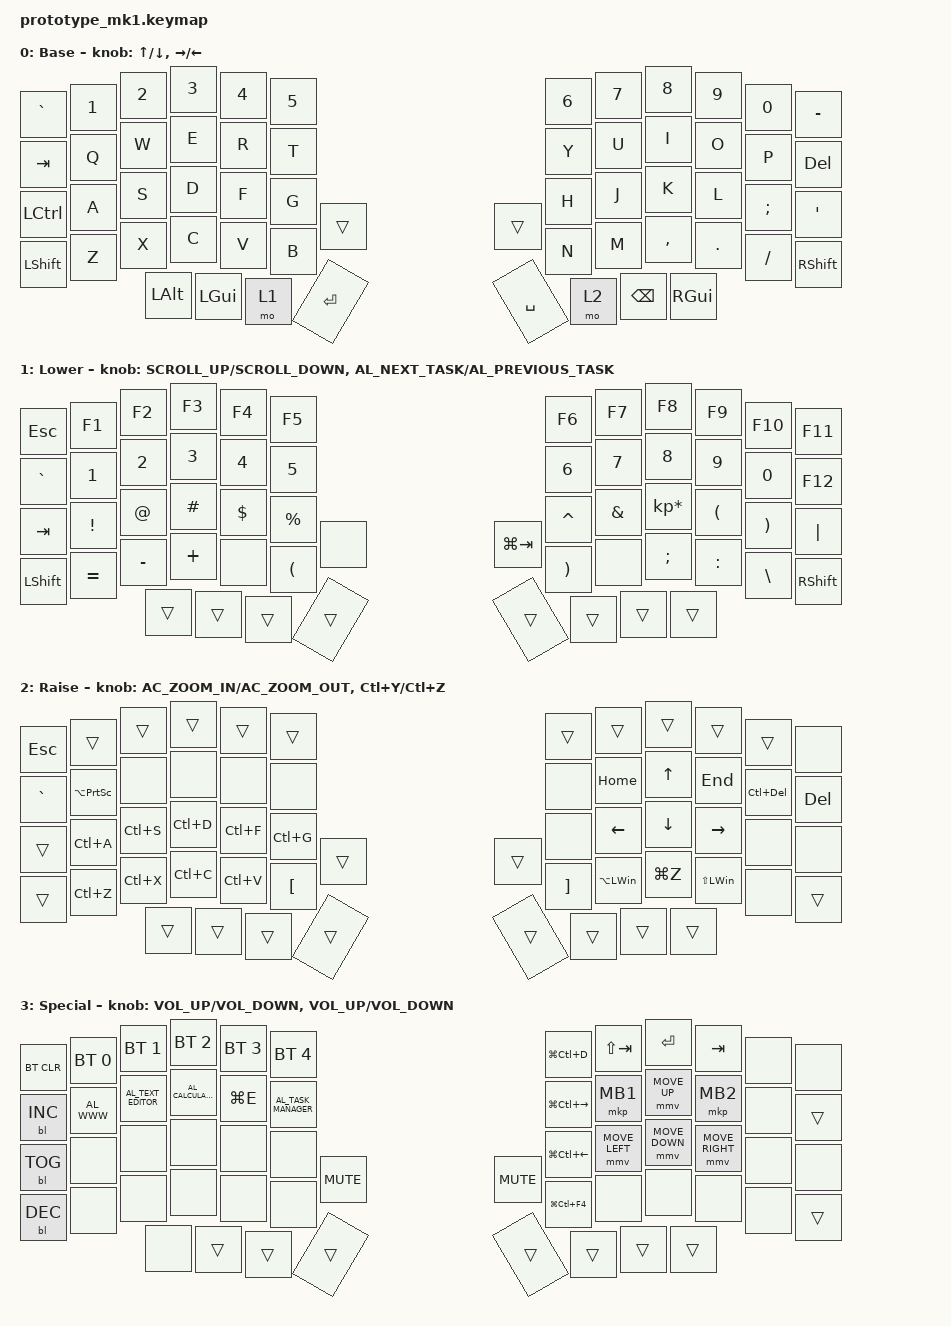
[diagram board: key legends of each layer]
/*
 * Copyright (c) 2020 The ZMK Contributors
 *
 * SPDX-License-Identifier: MIT
 */

#include <behaviors.dtsi>
#include <dt-bindings/zmk/backlight.h>
#include <dt-bindings/zmk/bt.h>
#include <dt-bindings/zmk/ext_power.h>
#include <dt-bindings/zmk/keys.h>
#include <dt-bindings/zmk/pointing.h>

#define BASE 0
#define LOWER 1
#define RAISE 2
#define ADJUST 3

/ {
    // Activate ADJUST layer by pressing raise and lower

    conditional_layers {
        compatible = "zmk,conditional-layers";

        special_layer {
            if-layers = <1 2>;
            then-layer = <3>;
        };
    };

    keymap {
        compatible = "zmk,keymap";

        default_layer {
            display-name = "Base";
            bindings = <
&kp GRAVE  &kp N1  &kp N2  &kp N3    &kp N4    &kp N5                        &kp N6  &kp N7    &kp N8     &kp N9   &kp N0    &kp MINUS
&kp TAB    &kp Q   &kp W   &kp E     &kp R     &kp T                         &kp Y   &kp U     &kp I      &kp O    &kp P     &kp DELETE
&kp LCTRL  &kp A   &kp S   &kp D     &kp F     &kp G                         &kp H   &kp J     &kp K      &kp L    &kp SEMI  &kp SQT
&kp LSHFT  &kp Z   &kp X   &kp C     &kp V     &kp B   &trans     &trans     &kp N   &kp M     &kp COMMA  &kp DOT  &kp FSLH  &kp RSHFT
                           &kp LALT  &kp LGUI  &mo 1   &kp ENTER  &kp SPACE  &mo 2   &kp BSPC  &kp RGUI
            >;

            sensor-bindings =
                <&inc_dec_kp UP_ARROW DOWN_ARROW>,
                <&inc_dec_kp RIGHT LEFT>;
        };

        // ------------------------------------------------------------------------------------------------------------
        // ------------------------------------------------------------------------------------------------------------

        layer_lower {
            display-name = "Lower";
            bindings = <
&kp ESC         &kp F1        &kp F2        &kp F3        &kp F4        &kp F5                                     &kp F6                 &kp F7    &kp F8           &kp F9     &kp F10        &kp F11
&kp GRAVE       &kp NUMBER_1  &kp NUMBER_2  &kp NUMBER_3  &kp NUMBER_4  &kp N5                                     &kp NUMBER_6           &kp N7    &kp N8           &kp N9     &kp N0         &kp F12
&kp TAB         &kp EXCL      &kp AT        &kp HASH      &kp DOLLAR    &kp PRCNT                                  &kp CARET              &kp AMPS  &kp KP_MULTIPLY  &kp LPAR   &kp RPAR       &kp PIPE
&kp LEFT_SHIFT  &kp EQUAL     &kp MINUS     &kp PLUS      &none         &kp LEFT_PARENTHESIS  &none   &kp LG(TAB)  &kp RIGHT_PARENTHESIS  &none     &kp SEMI         &kp COLON  &kp BACKSLASH  &kp RIGHT_SHIFT
                                            &trans        &trans        &trans                &trans  &trans       &trans                 &trans    &trans
            >;

            sensor-bindings =
                <&inc_dec_kp K_SCROLL_UP K_SCROLL_DOWN>,
                <&inc_dec_kp C_AL_NEXT_TASK C_AL_PREVIOUS_TASK>;
        };

        // ------------------------------------------------------------------------------------------------------------
        // ------------------------------------------------------------------------------------------------------------

        layer_upper {
            display-name = "Raise";
            bindings = <
&kp ESCAPE  &trans               &trans     &trans     &trans     &trans                            &trans             &trans            &trans          &trans            &trans       &none
&kp GRAVE   &kp LA(PRINTSCREEN)  &none      &none      &none      &none                             &none              &kp HOME          &kp UP_ARROW    &kp END           &kp LC(DEL)  &kp DELETE
&trans      &kp LC(A)            &kp LC(S)  &kp LC(D)  &kp LC(F)  &kp LC(G)                         &none              &kp LEFT_ARROW    &kp DOWN_ARROW  &kp RIGHT_ARROW   &none        &none
&trans      &kp LC(Z)            &kp LC(X)  &kp LC(C)  &kp LC(V)  &kp LEFT_BRACKET  &trans  &trans  &kp RIGHT_BRACKET  &kp LA(LEFT_WIN)  &kp LG(Z)       &kp LS(LEFT_WIN)  &none        &trans
                                            &trans     &trans     &trans            &trans  &trans  &trans             &trans            &trans
            >;

            sensor-bindings =
                <&inc_dec_kp C_AC_ZOOM_IN C_AC_ZOOM_OUT>,
                <&inc_dec_kp LC(Y) LC(Z)>;
        };

        // ------------------------------------------------------------------------------------------------------------
        // ------------------------------------------------------------------------------------------------------------

        layer_special {
            display-name = "Special";
            bindings = <
&bt BT_CLR  &bt BT_SEL 0  &bt BT_SEL 1          &bt BT_SEL 2         &bt BT_SEL 3  &bt BT_SEL 4                                   &kp LG(LC(D))      &kp LS(TAB)     &kp ENTER       &kp TAB          &none  &none
&bl BL_INC  &kp C_AL_WWW  &kp C_AL_TEXT_EDITOR  &kp C_AL_CALCULATOR  &kp LG(E)     &kp C_AL_TASK_MANAGER                          &kp LG(LC(RIGHT))  &mkp MB1        &mmv MOVE_UP    &mkp MB2         &none  &trans
&bl BL_TOG  &none         &none                 &none                &none         &none                                          &kp LG(LC(LEFT))   &mmv MOVE_LEFT  &mmv MOVE_DOWN  &mmv MOVE_RIGHT  &none  &none
&bl BL_DEC  &none         &none                 &none                &none         &none                  &kp K_MUTE  &kp K_MUTE  &kp LG(LC(F4))     &none           &none           &none            &none  &trans
                                                &none                &trans        &trans                 &trans      &trans      &trans             &trans          &trans
            >;

            sensor-bindings =
                <&inc_dec_kp C_VOLUME_UP C_VOLUME_DOWN>,
                <&inc_dec_kp C_VOLUME_UP C_VOLUME_DOWN>;
        };
    };
};
